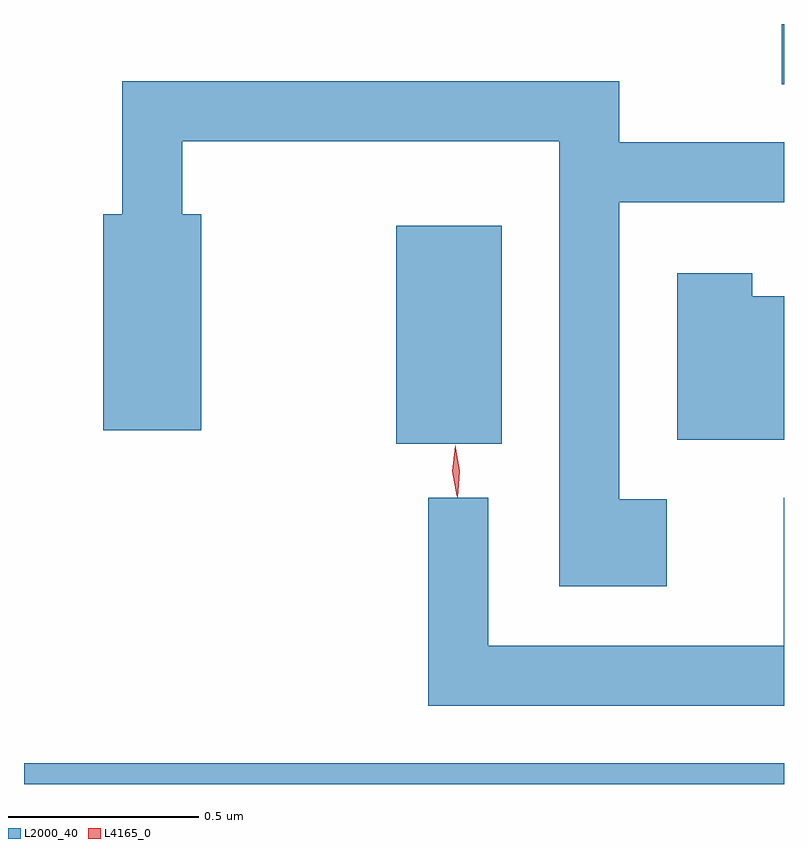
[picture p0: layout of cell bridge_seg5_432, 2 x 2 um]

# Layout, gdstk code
import gdstk
lib = gdstk.Library(unit=1e-6, precision=1e-09)
def R(c, l, rs):  # rectangles x0, y0, x1, y1
    for r in rs: c.add(gdstk.rectangle(r[:2], r[2:], *l))
def P(c, l, *ps):  # polygons
    for p in ps: c.add(gdstk.Polygon(p, *l))
L2000_40 = (2000, 40)
L4165_0 = (4165, 0)

bridge_seg5_432 = lib.new_cell('bridge_seg5_432')
R(bridge_seg5_432, L2000_40, [(595.047,1496.97,597.047,1497.024), (596.026,1497.866,596.304,1498.439), (597.041,1498.811,597.047,1498.97)])
P(bridge_seg5_432, L2000_40, [(596.739,1497.719),(596.614,1497.719),(596.614,1498.501),(597.047,1498.501),(597.047,1498.659),(596.614,1498.659),(596.614,1498.819),(595.306,1498.819),(595.306,1498.469),(595.256,1498.469),(595.256,1497.901),(595.514,1497.901),(595.514,1498.469),(595.464,1498.469),(595.464,1498.661),(596.456,1498.661),(596.456,1497.491),(596.739,1497.491)],
  [(597.047,1498.254),(596.964,1498.254),(596.964,1498.314),(596.766,1498.314),(596.766,1497.876),(597.047,1497.876)],
  [(597.047,1497.723),(597.046,1497.723),(597.046,1497.334),(596.269,1497.334),(596.269,1497.723),(596.111,1497.723),(596.111,1497.176),(597.047,1497.176)])
P(bridge_seg5_432, L4165_0, [(596.186,1497.728),(596.186,1497.728),(596.174,1497.793),(596.182,1497.859),(596.182,1497.859),(596.182,1497.859),(596.194,1497.794),(596.186,1497.728)],
  [(596.187,1497.724),(596.187,1497.725),(596.175,1497.793),(596.182,1497.861),(596.182,1497.862),(596.182,1497.861),(596.194,1497.793),(596.188,1497.725)])

lib.write_gds('bridge_seg5_432.gds')
